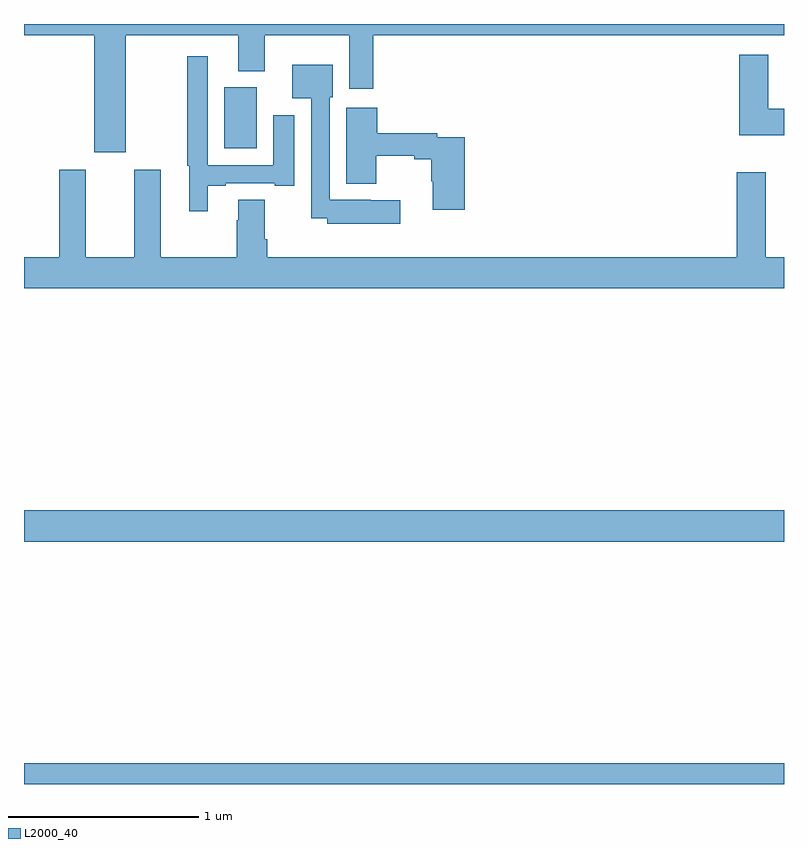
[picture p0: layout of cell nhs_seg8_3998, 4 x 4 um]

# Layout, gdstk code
import gdstk
lib = gdstk.Library(unit=1e-6, precision=1e-09)
def R(c, l, rs):  # rectangles x0, y0, x1, y1
    for r in rs: c.add(gdstk.rectangle(r[:2], r[2:], *l))
def P(c, l, *ps):  # polygons
    for p in ps: c.add(gdstk.Polygon(p, *l))
L2000_40 = (2000, 40)

nhs_seg8_3998 = lib.new_cell('nhs_seg8_3998')
R(nhs_seg8_3998, L2000_40, [(357,1105.9,361,1106.008), (357,1107.176,361,1107.34), (358.055,1109.246,358.225,1109.566)])
P(nhs_seg8_3998, L2000_40, [(357.535,1109.84),(358.127,1109.84),(358.127,1109.651),(358.267,1109.651),(358.267,1109.84),(358.712,1109.84),(358.712,1109.559),(358.838,1109.559),(358.838,1109.84),(361,1109.84),(361,1109.9),(357,1109.9),(357,1109.84),(357.371,1109.84),(357.371,1109.226),(357.535,1109.226)],
  [(361,1109.455),(360.916,1109.455),(360.916,1109.737),(360.764,1109.737),(360.764,1109.315),(361,1109.315)],
  [(357.967,1109.049),(358.063,1109.049),(358.063,1109.061),(358.319,1109.061),(358.319,1109.049),(358.423,1109.049),(358.423,1109.419),(358.313,1109.419),(358.313,1109.157),(357.966,1109.157),(357.966,1109.731),(357.858,1109.731),(357.858,1109.154),(357.869,1109.154),(357.869,1108.914),(357.967,1108.914)],
  [(358.981,1108.972),(358.824,1108.972),(358.824,1108.974),(358.608,1108.974),(358.608,1109.514),(358.624,1109.514),(358.624,1109.686),(358.412,1109.686),(358.412,1109.51),(358.512,1109.51),(358.512,1108.877),(358.596,1108.877),(358.596,1108.85),(358.981,1108.85)],
  [(359.321,1109.304),(359.174,1109.304),(359.174,1109.324),(358.859,1109.324),(358.859,1109.458),(358.697,1109.458),(358.697,1109.06),(358.854,1109.06),(358.854,1109.206),(359.054,1109.206),(359.054,1109.188),(359.143,1109.188),(359.143,1109.073),(359.15,1109.073),(359.15,1108.923),(359.321,1108.923)],
  [(361,1108.672),(360.904,1108.672),(360.904,1109.119),(360.752,1109.119),(360.752,1108.672),(358.28,1108.672),(358.28,1108.768),(358.267,1108.768),(358.267,1108.976),(358.127,1108.976),(358.127,1108.868),(358.12,1108.868),(358.12,1108.672),(357.721,1108.672),(357.721,1109.134),(357.581,1109.134),(357.581,1108.672),(357.325,1108.672),(357.325,1109.134),(357.185,1109.134),(357.185,1108.672),(357,1108.672),(357,1108.508),(361,1108.508)])

lib.write_gds('nhs_seg8_3998.gds')
